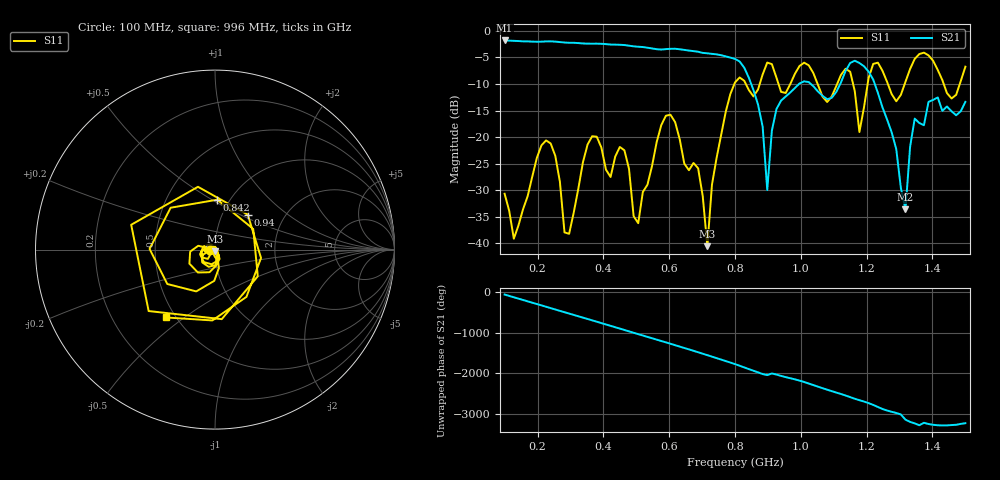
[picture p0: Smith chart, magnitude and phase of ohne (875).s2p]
! NanoVNA-App
! Date: 2025-09-25 14:27:36
! Start: 100MHz Stop: 1,5GHz Points: 101
! S-Parameter data: F S11 S21 S12 S22
# Hz S RI R 50
!  Frequency  S11_Real  S11_Imag  S21_Real  S21_Imag  S12_Real  S12_Imag  S22_Real  S22_Imag
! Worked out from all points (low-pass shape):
!   101 points, 100 MHz to 1.5 GHz, reference 50 ohm
!   highest |S21| = -1.79 dB at 100 MHz (marker M1); lowest = -33.6 dB at 1.318 GHz (marker M2)
!   |S21| within 3 dB of the highest: start of sweep to 772 MHz
!   lowest |S11| = -40.5 dB at 716 MHz (marker M3), VSWR 1.02, Z = 49.8 - j0.927 ohm
!   |S11| at or under -10 dB: start of sweep to 798 MHz; 833.1 MHz to 875.1 MHz (42.01 MHz wide, 4.92 % of centre); 1.051 GHz to 1.11 GHz (59.14 MHz wide, 5.47 % of centre)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
!   S12 and S22 are empty: the file has one direction only
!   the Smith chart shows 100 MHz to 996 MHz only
!   S11 on the Smith chart (normalised r, x): 100 MHz: 0.94, -0.01; 842 MHz: 0.88, +0.53; 940 MHz: 1.31, +0.55; 996 MHz: 0.44, -0.43
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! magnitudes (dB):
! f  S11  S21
! 100 MHz  -30.6  -1.8
! 128 MHz  -39.1  -1.9
! 226 MHz  -20.6  -2.0
! 296 MHz  -38.2  -2.2
! 338 MHz  -24.7  -2.4
! 464 MHz  -22.5  -2.7
! 506 MHz  -36.2  -3.0
! 576 MHz  -17.7  -3.5
! 688 MHz  -25.8  -3.9
! 716 MHz  -40.5  -4.2
! 800 MHz  -9.7  -5.3
! 842 MHz  -11.1  -8.8
! 898 MHz  -6.0  -29.9
! 940 MHz  -11.5  -13.1
! 996 MHz  -6.6  -9.9
! 1.038 GHz  -7.9  -10.4
! 1.178 GHz  -19.0  -6.0
! 1.22 GHz  -6.2  -9.2
! 1.276 GHz  -11.9  -19.1
! 1.318 GHz  -9.6  -33.6
! 1.346 GHz  -5.3  -16.5
! 1.5 GHz  -6.7  -13.4
